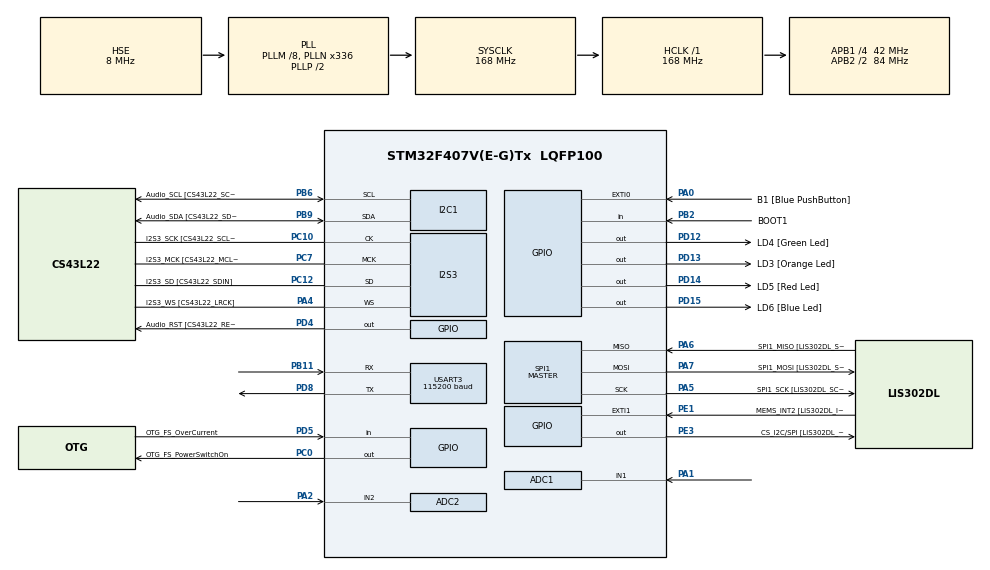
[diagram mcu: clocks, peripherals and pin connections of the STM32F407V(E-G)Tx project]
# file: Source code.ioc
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ADC1.Channel-0\#ChannelRegularConversion=ADC_CHANNEL_1
ADC1.ClockPrescaler=ADC_CLOCK_SYNC_PCLK_DIV4
ADC1.ContinuousConvMode=ENABLE
ADC1.ExternalTrigConv=ADC_EXTERNALTRIGCONV_T3_TRGO
ADC1.Mode=__NULL
ADC1.NbrOfConversionFlag=1
ADC1.Rank-0\#ChannelRegularConversion=1
ADC1.SamplingTime-0\#ChannelRegularConversion=ADC_SAMPLETIME_3CYCLES
ADC1.master=1
ADC2.Channel-3\#ChannelRegularConversion=ADC_CHANNEL_2
ADC2.ContinuousConvMode=ENABLE
ADC2.ExternalTrigConv=ADC_EXTERNALTRIGCONV_T3_TRGO
ADC2.NbrOfConversionFlag=1
ADC2.Rank-3\#ChannelRegularConversion=1
ADC2.SamplingTime-3\#ChannelRegularConversion=ADC_SAMPLETIME_3CYCLES
I2S3.AudioFreq-Half_Duplex_Master=I2S_AUDIOFREQ_96K
I2S3.ErrorAudioFreq=-2.34 %
I2S3.ErrorAudioFreq-Half_Duplex_Master=0.8 %
I2S3.FullDuplexMode=I2S_FULLDUPLEXMODE_DISABLE
I2S3.Instance=SPI$Index
I2S3.RealAudioFreq=93.75 KHz
I2S3.RealAudioFreq-Half_Duplex_Master=96.774 KHz
I2S3.VirtualMode=I2S_MODE_MASTER
Mcu.Family=STM32F4
Mcu.Name=STM32F407V(E-G)Tx
Mcu.Package=LQFP100
NVIC.ADC_IRQn=true\:0\:0\:false\:false\:true\:true
NVIC.PriorityGroup=NVIC_PRIORITYGROUP_0
NVIC.TIM3_IRQn=true\:0\:0\:false\:false\:true\:true
PA0-WKUP.GPIO_Label=B1 [Blue PushButton]
PA0-WKUP.GPIO_ModeDefaultEXTI=GPIO_MODE_EVT_RISING
PA0-WKUP.GPIO_PuPd=GPIO_NOPULL
PA0-WKUP.Signal=GPXTI0
PA1.Signal=ADCx_IN1
PA10.GPIO_Label=OTG_FS_ID
PA10.GPIO_Mode=GPIO_MODE_AF_PP
PA10.GPIO_PuPd=GPIO_NOPULL
PA10.GPIO_Speed=GPIO_SPEED_FREQ_LOW
PA10.Signal=USB_OTG_FS_ID
PA11.GPIO_Label=OTG_FS_DM
PA11.GPIO_Mode=GPIO_MODE_AF_PP
PA11.GPIO_PuPd=GPIO_NOPULL
PA11.GPIO_Speed=GPIO_SPEED_FREQ_LOW
PA11.Signal=USB_OTG_FS_DM
PA12.GPIO_Label=OTG_FS_DP
PA12.GPIO_Mode=GPIO_MODE_AF_PP
PA12.GPIO_PuPd=GPIO_NOPULL
PA12.GPIO_Speed=GPIO_SPEED_FREQ_LOW
PA12.Signal=USB_OTG_FS_DP
PA13.GPIO_Label=SWDIO
PA13.Mode=Serial_Wire
PA13.Signal=SYS_JTMS-SWDIO
PA14.GPIO_Label=SWCLK
PA14.Mode=Serial_Wire
PA14.Signal=SYS_JTCK-SWCLK
PA2.Signal=ADCx_IN2
PA4.GPIO_Label=I2S3_WS [CS43L22_LRCK]
PA4.GPIO_Mode=GPIO_MODE_AF_PP
PA4.GPIO_PuPd=GPIO_NOPULL
PA4.GPIO_Speed=GPIO_SPEED_FREQ_LOW
PA4.Mode=Half_Duplex_Master
PA4.Signal=I2S3_WS
PA5.GPIO_Label=SPI1_SCK [LIS302DL_SCL/SPC]
PA5.GPIO_Mode=GPIO_MODE_AF_PP
PA5.GPIO_PuPd=GPIO_NOPULL
PA5.GPIO_Speed=GPIO_SPEED_FREQ_LOW
PA5.Mode=Full_Duplex_Master
PA5.Signal=SPI1_SCK
PA6.GPIO_Label=SPI1_MISO [LIS302DL_SDO]
PA6.GPIO_Mode=GPIO_MODE_AF_PP
PA6.GPIO_PuPd=GPIO_NOPULL
PA6.GPIO_Speed=GPIO_SPEED_FREQ_LOW
PA6.Mode=Full_Duplex_Master
PA6.Signal=SPI1_MISO
PA7.GPIO_Label=SPI1_MOSI [LIS302DL_SDA/SDI/SDO]
PA7.GPIO_Mode=GPIO_MODE_AF_PP
PA7.GPIO_PuPd=GPIO_NOPULL
PA7.GPIO_Speed=GPIO_SPEED_FREQ_LOW
PA7.Mode=Full_Duplex_Master
PA7.Signal=SPI1_MOSI
PA9.GPIO_Label=VBUS_FS
PA9.GPIO_Mode=GPIO_MODE_INPUT
PA9.GPIO_PuPd=GPIO_NOPULL
PA9.Signal=USB_OTG_FS_VBUS
PB10.GPIO_Label=CLK_IN [MP45DT02_CLK]
PB10.GPIO_Mode=GPIO_MODE_AF_PP
PB10.GPIO_PuPd=GPIO_NOPULL
PB10.GPIO_Speed=GPIO_SPEED_FREQ_LOW
PB10.Signal=I2S2_CK
PB11.Mode=Asynchronous
PB11.Signal=USART3_RX
PB2.GPIO_Label=BOOT1
PB2.GPIO_Mode=GPIO_MODE_INPUT
PB2.GPIO_PuPd=GPIO_NOPULL
PB2.Signal=GPIO_Input
PB3.GPIO_Label=SWO
PB3.Signal=SYS_JTDO-SWO
PB6.GPIO_Label=Audio_SCL [CS43L22_SCL]
PB6.GPIO_Mode=GPIO_MODE_AF_OD
PB6.GPIO_PuPd=GPIO_NOPULL
PB6.GPIO_Speed=GPIO_SPEED_FREQ_LOW
PB6.Mode=I2C
PB6.Signal=I2C1_SCL
PB9.GPIO_Label=Audio_SDA [CS43L22_SDA]
PB9.GPIO_Mode=GPIO_MODE_AF_OD
PB9.GPIO_PuPd=GPIO_NOPULL
PB9.GPIO_Speed=GPIO_SPEED_FREQ_LOW
PB9.Mode=I2C
PB9.Signal=I2C1_SDA
PC0.GPIO_Label=OTG_FS_PowerSwitchOn
PC0.GPIO_PuPd=GPIO_NOPULL
PC0.GPIO_Speed=GPIO_SPEED_FREQ_LOW
PC0.PinState=GPIO_PIN_SET
PC0.Signal=GPIO_Output
PC10.GPIO_Label=I2S3_SCK [CS43L22_SCLK]
PC10.GPIO_Mode=GPIO_MODE_AF_PP
PC10.GPIO_PuPd=GPIO_NOPULL
PC10.GPIO_Speed=GPIO_SPEED_FREQ_LOW
PC10.Mode=Half_Duplex_Master
PC10.Signal=I2S3_CK
PC12.GPIO_Label=I2S3_SD [CS43L22_SDIN]
PC12.GPIO_Mode=GPIO_MODE_AF_PP
PC12.GPIO_PuPd=GPIO_NOPULL
PC12.GPIO_Speed=GPIO_SPEED_FREQ_LOW
PC12.Mode=Half_Duplex_Master
PC12.Signal=I2S3_SD
PC14-OSC32_IN.GPIO_Label=PC14-OSC32_IN
PC14-OSC32_IN.Mode=LSE-External-Oscillator
PC14-OSC32_IN.Signal=RCC_OSC32_IN
PC15-OSC32_OUT.GPIO_Label=PC15-OSC32_OUT
PC15-OSC32_OUT.Mode=LSE-External-Oscillator
PC15-OSC32_OUT.Signal=RCC_OSC32_OUT
PC3.GPIO_Label=PDM_OUT [MP45DT02_DOUT]
PC3.GPIO_Mode=GPIO_MODE_AF_PP
PC3.GPIO_PuPd=GPIO_NOPULL
PC3.GPIO_Speed=GPIO_SPEED_FREQ_LOW
PC3.Signal=I2S2_SD
PC7.GPIO_Label=I2S3_MCK [CS43L22_MCLK]
PC7.GPIO_Mode=GPIO_MODE_AF_PP
PC7.GPIO_PuPd=GPIO_NOPULL
PC7.GPIO_Speed=GPIO_SPEED_FREQ_LOW
PC7.Mode=Master_Clock_Activated
PC7.Signal=I2S3_MCK
PD12.GPIO_Label=LD4 [Green Led]
PD12.GPIO_PuPd=GPIO_NOPULL
PD12.GPIO_Speed=GPIO_SPEED_FREQ_LOW
PD12.Signal=GPIO_Output
PD13.GPIO_Label=LD3 [Orange Led]
PD13.GPIO_PuPd=GPIO_NOPULL
PD13.GPIO_Speed=GPIO_SPEED_FREQ_LOW
PD13.Signal=GPIO_Output
PD14.GPIO_Label=LD5 [Red Led]
PD14.GPIO_PuPd=GPIO_NOPULL
PD14.GPIO_Speed=GPIO_SPEED_FREQ_LOW
PD14.Signal=GPIO_Output
PD15.GPIO_Label=LD6 [Blue Led]
PD15.GPIO_PuPd=GPIO_NOPULL
PD15.GPIO_Speed=GPIO_SPEED_FREQ_LOW
PD15.Signal=GPIO_Output
PD4.GPIO_Label=Audio_RST [CS43L22_RESET]
PD4.GPIO_PuPd=GPIO_NOPULL
PD4.GPIO_Speed=GPIO_SPEED_FREQ_LOW
PD4.Signal=GPIO_Output
PD5.GPIO_Label=OTG_FS_OverCurrent
PD5.GPIO_Mode=GPIO_MODE_INPUT
PD5.GPIO_PuPd=GPIO_NOPULL
PD5.Signal=GPIO_Input
PD8.Mode=Asynchronous
PD8.Signal=USART3_TX
PE1.GPIO_Label=MEMS_INT2 [LIS302DL_INT2]
PE1.GPIO_ModeDefaultEXTI=GPIO_MODE_EVT_RISING
PE1.GPIO_PuPd=GPIO_NOPULL
PE1.Signal=GPXTI1
PE3.GPIO_Label=CS_I2C/SPI [LIS302DL_CS_I2C/SPI]
PE3.GPIO_PuPd=GPIO_NOPULL
PE3.GPIO_Speed=GPIO_SPEED_FREQ_LOW
PE3.Signal=GPIO_Output
PH0-OSC_IN.GPIO_Label=PH0-OSC_IN
PH0-OSC_IN.Mode=HSE-External-Oscillator
PH0-OSC_IN.Signal=RCC_OSC_IN
PH1-OSC_OUT.GPIO_Label=PH1-OSC_OUT
PH1-OSC_OUT.Mode=HSE-External-Oscillator
PH1-OSC_OUT.Signal=RCC_OSC_OUT
ProjectManager.HeapSize=0x200
ProjectManager.StackSize=0x400
ProjectManager.TargetToolchain=TrueSTUDIO
RCC.48MHZClocksFreq_Value=48000000
RCC.AHBFreq_Value=168000000
RCC.APB1CLKDivider=RCC_HCLK_DIV4
RCC.APB1Freq_Value=42000000
RCC.APB1TimFreq_Value=84000000
RCC.APB2CLKDivider=RCC_HCLK_DIV2
RCC.APB2Freq_Value=84000000
RCC.APB2TimFreq_Value=168000000
RCC.CortexFreq_Value=168000000
RCC.HCLKFreq_Value=168000000
RCC.HSE_VALUE=8000000
RCC.HSI_VALUE=16000000
RCC.PLLM=8
RCC.PLLN=336
RCC.PLLQ=7
RCC.PLLSourceVirtual=RCC_PLLSOURCE_HSE
RCC.SYSCLKFreq_VALUE=168000000
RCC.SYSCLKSource=RCC_SYSCLKSOURCE_PLLCLK
RCC.VCOOutputFreq_Value=336000000
SH.ADCx_IN1.0=ADC1_IN1,IN1
SH.ADCx_IN2.0=ADC2_IN2,IN2
SPI1.BaudRatePrescaler-Full_Duplex_Master=SPI_BAUDRATEPRESCALER_2
SPI1.CalculateBaudRate-Full_Duplex_Master=42.0 MBits/s
SPI1.Direction=SPI_DIRECTION_2LINES
SPI1.Mode=SPI_MODE_MASTER
SPI1.Mode-Full_Duplex_Master=SPI_MODE_MASTER
SPI1.VirtualType=VM_MASTER
TIM3.ClockDivision=TIM_CLOCKDIVISION_DIV2
TIM3.Period=10
TIM3.Prescaler=84
TIM3.TIM_MasterOutputTrigger=TIM_TRGO_UPDATE
USART3.BaudRate=115200
USART3.VirtualMode=VM_ASYNC
VP_TIM3_VS_ClockSourceINT.Mode=Internal
board=STM32F4DISCOVERY

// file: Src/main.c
/* USER CODE BEGIN Header */
/**
  ******************************************************************************
  * @file           : main.c
  * @brief          : Main program body
  ******************************************************************************
  * This notice applies to any and all portions of this file
  * that are not between comment pairs USER CODE BEGIN and
  * USER CODE END. Other portions of this file, whether
  * inserted by the user or by software development tools
  * are owned by their respective copyright owners.
  *
  * Copyright (c) 2018 STMicroelectronics International N.V.
  * All rights reserved.
  *
  * Redistribution and use in source and binary forms, with or without
  * modification, are permitted, provided that the following conditions are met:
  *
  * 1. Redistribution of source code must retain the above copyright notice,
  *    this list of conditions and the following disclaimer.
  * 2. Redistributions in binary form must reproduce the above copyright notice,
  *    this list of conditions and the following disclaimer in the documentation
  *    and/or other materials provided with the distribution.
  * 3. Neither the name of STMicroelectronics nor the names of other
  *    contributors to this software may be used to endorse or promote products
  *    derived from this software without specific written permission.
  * 4. This software, including modifications and/or derivative works of this
  *    software, must execute solely and exclusively on microcontroller or
  *    microprocessor devices manufactured by or for STMicroelectronics.
  * 5. Redistribution and use of this software other than as permitted under
  *    this license is void and will automatically terminate your rights under
  *    this license.
  *
  * THIS SOFTWARE IS PROVIDED BY STMICROELECTRONICS AND CONTRIBUTORS "AS IS"
  * AND ANY EXPRESS, IMPLIED OR STATUTORY WARRANTIES, INCLUDING, BUT NOT
  * LIMITED TO, THE IMPLIED WARRANTIES OF MERCHANTABILITY, FITNESS FOR A
  * PARTICULAR PURPOSE AND NON-INFRINGEMENT OF THIRD PARTY INTELLECTUAL PROPERTY
  * RIGHTS ARE DISCLAIMED TO THE FULLEST EXTENT PERMITTED BY LAW. IN NO EVENT
  * SHALL STMICROELECTRONICS OR CONTRIBUTORS BE LIABLE FOR ANY DIRECT, INDIRECT,
  * INCIDENTAL, SPECIAL, EXEMPLARY, OR CONSEQUENTIAL DAMAGES (INCLUDING, BUT NOT
  * LIMITED TO, PROCUREMENT OF SUBSTITUTE GOODS OR SERVICES; LOSS OF USE, DATA,
  * OR PROFITS; OR BUSINESS INTERRUPTION) HOWEVER CAUSED AND ON ANY THEORY OF
  * LIABILITY, WHETHER IN CONTRACT, STRICT LIABILITY, OR TORT (INCLUDING
  * NEGLIGENCE OR OTHERWISE) ARISING IN ANY WAY OUT OF THE USE OF THIS SOFTWARE,
  * EVEN IF ADVISED OF THE POSSIBILITY OF SUCH DAMAGE.
  *
  ******************************************************************************
  */
/* USER CODE END Header */

#include "main.h"
#include "adc.h"
#include "i2c.h"
#include "i2s.h"
#include "spi.h"
#include "tim.h"
#include "usart.h"
#include "gpio.h"

/* USER CODE BEGIN Includes */
#include "string.h"
#include  <errno.h>
#include  <sys/unistd.h> // STDOUT_FILENO, STDERR_FILENO
#include <stdint.h>
#include <stdbool.h>

#include "dsp_algorithms.h"
#include "adc_capture.h"

//DEBUG
#include "stm32f4xx_hal_tim.h"

/* USER CODE END Includes */

/* USER CODE BEGIN PV */
const char trigger_type_names[][20] = {
		"trigger_off",
		"trigger_rising",
		"trigger_falling",
		"trigger_any"
};

/* USER CODE END PV */

void SystemClock_Config(void);

/* USER CODE BEGIN 0 */

/// \brief write for printf
/// Source: https://electronics.stackexchange.com/questions/206113/how-do-i-use-the-printf-function-on-stm32
/// Uses UART3 to transmit data
int _write(int file, char *data, int len)
{
	if ((file != STDOUT_FILENO) && (file != STDERR_FILENO))
	{
			errno = EBADF;
			return -1;
	}

	// arbitrary timeout 1000
	HAL_StatusTypeDef status = HAL_UART_Transmit(&huart3, (uint8_t*)data, len, 1000);

	// return # of bytes written - as best we can tell
	return (status == HAL_OK ? len : 0);
}

/// \brief clears the terminal by writing a lot of empty lines to it
/// \author R. Paauw
void clear_terminal()
{
	for (int i = 0; i < 80; i++)
	{
		printf("\r\n");
	}
}

/// \brief prints the menu options that are available on the system
/// \author R. Paauw
void print_menu_options()
{
	printf("(1) Capture microphones\r\n");
	printf("(2) Calculate time delay\r\n");
	printf("(3) Signal statistics\r\n");
	printf("(4) Print ADC buffers\r\n");
	printf("(R) Toggle continuous running mode\r\n");
	printf("(T) Select trigger mode\r\n");
	printf("(-) Decrease trigger level\r\n");
	printf("(+) Increase trigger level\r\n");
	printf("(C) Clear screen\r\n");
	printf("(H) Print menu options\r\n");
}

/// \brief Prints text at startup
/// \author R. Paauw
void print_startup_text()
{
	char startup_string[] = "| 5LIU0 project - TDOA angle estimation |";
	char lines[sizeof(startup_string)];
	for (int i = 1; i < (sizeof(lines) - 2); i++)
	{
		lines[i] = '=';
	}
	lines[0] = '+';
	lines[sizeof(lines) - 1] = '+';

	clear_terminal();
	printf("%s\r\n", lines);
	printf("%s\r\n", startup_string);
	printf("%s\r\n\r\n", lines);

	print_menu_options();

	printf("\r\n> ");
}

/// \brief prints the values of the ADC in decimal csv format with ';' as seperator
/// \param[in] buf_a pointer to first buffer
/// \param[in] buf_b pointer to second buffer
/// \param[in] nr_of_samples number of samples to print
void print_adc_buffers(int16_t *buf_a, int16_t *buf_b, uint32_t nr_of_samples)
{
	printf("\r\nIndex,Buffer A,Buffer B\r\n");

	for (int i = 0; i < nr_of_samples; i++)
	{
		printf("%d,%d,%d\r\n", i, (int)buf_a[i], (int)buf_b[i]);
	}
}

/// \brief Process one character from the terminal
/// \param[in] rx_char The character received from the terminal
/// \author R. Paauw
void process_uart_command(uint8_t rx_char)
{
	int16_t trigger_level_mv;
	uint8_t rx_char_2 = 'a';

	switch(rx_char)
	{
	case '1':
		printf("%c\r\n", rx_char);
		printf("Capturing microphones...\r\n");

		HAL_Delay(500); // Wait for the sound of the keypress to fade

		for (int i = 0; i < adc_buffer_size; i++)
		{
			adc_buffer_a[i] = 6;
			adc_buffer_b[i] = 7;
		}

		if (get_trigger_mode() != trigger_off)
		{
			set_adc_mode(ADC_TRIGGER_MODE);
		} else {
			set_adc_mode(ADC_CAPTURE_MODE);
		}

		uint32_t starttime = HAL_GetTick();

		reset_adc_index();

		HAL_ADC_Start_IT(&hadc1);
		HAL_ADC_Start_IT(&hadc2);
		HAL_TIM_Base_Start_IT(&htim3);

		while(get_adc_index() != adc_buffer_size)
		{
			HAL_UART_Receive(&huart3, &rx_char_2, 1, 1);
			if ((rx_char_2 == 'q') || (rx_char_2 == 'Q'))
			{
				break;
			}
		}

		uint32_t time_elapsed = HAL_GetTick() - starttime;

		HAL_TIM_Base_Stop_IT(&htim3);
		HAL_ADC_Stop_IT(&hadc1);
		HAL_ADC_Stop_IT(&hadc2);

		if (get_adc_index() == adc_buffer_size)
		{
			printf("Capture complete in %lums\r\n", time_elapsed);
		} else {
			printf("Capture aborted.\r\n");
		}

		printf("\r\n> ");
		break;
	case '2':
		printf("%c\r\n", rx_char);
		printf("Calculating time delay...\r\n");
		printf("FAIL: Not implemented\r\n");
		// ToDo Calculate time delay here

		printf("\r\n> ");
		break;
	case '3':
		printf("%c\r\n", rx_char);
		printf("Entering statistics mode...\r\n");
		printf("\r\nPress <Q> to exit\r\n");

		HAL_Delay(500); // Wait for the sound of the keypress to fade

		do {

			if (get_trigger_mode() != trigger_off)
			{
				set_adc_mode(ADC_TRIGGER_MODE);
			} else {
				set_adc_mode(ADC_CAPTURE_MODE);
			}

			uint32_t starttime = HAL_GetTick();

			reset_adc_index();

			HAL_ADC_Start_IT(&hadc1);
			HAL_ADC_Start_IT(&hadc2);
			HAL_TIM_Base_Start_IT(&htim3);

			while(get_adc_index() != adc_buffer_size);
			uint32_t time_elapsed = HAL_GetTick() - starttime;

			HAL_TIM_Base_Stop_IT(&htim3);
			HAL_ADC_Stop_IT(&hadc1);
			HAL_ADC_Stop_IT(&hadc2);

			printf("Capture complete in %lums\r\n", time_elapsed);

			// Analyze signal here

			int16_t SignalMin_A = 30000;
			int16_t SignalMax_A = -30000;
			int64_t SamlpleSummation_A = 0;

			int16_t SignalMin_B = 30000;
			int16_t SignalMax_B = -30000;
			int64_t SamlpleSummation_B = 0;

			for (int i = 0; i < adc_buffer_size; i++)
			{
				if (adc_buffer_a[i] > SignalMax_B)
				{
					SignalMax_A = adc_buffer_a[i];
				}

				if (adc_buffer_b[i] > SignalMax_B)
				{
					SignalMax_B = adc_buffer_b[i];
				}

				if (adc_buffer_a[i] < SignalMin_A)
				{
					SignalMin_A = adc_buffer_a[i];
				}

				if (adc_buffer_b[i] < SignalMin_B)
				{
					SignalMin_B = adc_buffer_b[i];
				}

				SamlpleSummation_A += adc_buffer_a[i];
				SamlpleSummation_B += adc_buffer_b[i];
			}

			float Average_A = SamlpleSummation_A / (adc_buffer_size * 1.f);
			float Average_B = SamlpleSummation_B / (adc_buffer_size * 1.f);

			printf("+==========+==========+==========+\r\n");
			printf("| Property | Signal A | Signal B |\r\n");
			printf("+==========+==========+==========+\r\n");
			printf("|Min value | %8d | %8d |\r\n", SignalMin_A, SignalMin_B);
			printf("|Max value | %8d | %8d |\r\n", SignalMax_A, SignalMax_B);
			printf("|Average   | %5.3f | %.3f |\r\n", Average_A, Average_B);
			printf("|Peak-peak | %8d | %8d |\r\n", SignalMax_A - SignalMin_A, SignalMax_B - SignalMin_B);

			printf("+==========+==========+==========+\r\n");

			printf("\r\n\r\n");
			HAL_Delay(3000);

			HAL_UART_Receive(&huart3, &rx_char_2, 1, 1);
		} while ((rx_char_2 != 'Q') && (rx_char_2 != 'q'));

		printf("\r\n> ");
		break;
	case '4':
		printf("%c\r\n", rx_char);
		printf("Displaying ADC buffers...\r\n");

		if (get_adc_index() == adc_buffer_size)
		{
			print_adc_buffers(adc_buffer_a, adc_buffer_b, adc_buffer_size);
		} else {
			printf("FAIL: ADC buffers not ready, index = %lu\r\n", get_adc_index());
		}

		printf("\r\n> ");
		break;
	case 'R':
	case 'r':
		printf("%c\r\n", rx_char);
		printf("Entering continuous running mode...\r\n");
		printf("FAIL: Not implemented\r\n");
		// ToDo Implement continuous running mode here

		printf("\r\n> ");
		break;
	case 'T':
	case 't':
		printf("%c\r\n", rx_char);
		trigger_type_t trigger_mode = get_trigger_mode() + 1;
		if (trigger_mode >= nr_of_trigger_values)
			trigger_mode = trigger_off;
		set_trigger_mode(trigger_mode);
		printf("Trigger type set to: [%s]\r\n", trigger_type_names[(int)trigger_mode]);
		printf("\r\n> ");
		break;
	case '-':
		printf("%c\r\n", rx_char);
		trigger_level_mv = get_trigger_level();
		if ((trigger_level_mv - trigger_stepsize) >= trigger_min)
			set_trigger_level(trigger_level_mv - trigger_stepsize);
		printf("Decreased trigger level to %dmV\r\n", trigger_level_mv);
		printf("\r\n> ");
		break;
	case '+':
		printf("%c\r\n", rx_char);
		trigger_level_mv = get_trigger_level();
		if ((trigger_level_mv + trigger_stepsize) <= (trigger_max))
			set_trigger_level(trigger_level_mv + trigger_stepsize);
		printf("Increased trigger level to %dmV\r\n", trigger_level_mv);
		printf("\r\n> ");
		break;
	case 'C':
	case 'c':
		clear_terminal();
		printf("> ");
		break;
	case 'H':
	case 'h':
		printf("%c\r\n\r\n", rx_char);
		print_menu_options();
		printf("\r\n> ");
		break;
	default:
		if ((rx_char >= ' ') && (rx_char <= '~'))
			printf("Unknown command <%c> use (H) to show supported commands\r\n\r\n> ", rx_char);
		break;
	 }
}

/* USER CODE END 0 */

int main(void)
{

  /* MCU Configuration--------------------------------------------------------*/

  /* Reset of all peripherals, Initializes the Flash interface and the Systick. */
  HAL_Init();

  /* Configure the system clock */
  SystemClock_Config();

  /* Initialize all configured peripherals */
  MX_GPIO_Init();
  MX_I2C1_Init();
  MX_I2S3_Init();
  MX_SPI1_Init();
  MX_ADC1_Init();
  MX_ADC2_Init();
  MX_USART3_UART_Init();
  MX_TIM3_Init();
  /* USER CODE BEGIN 2 */

  setvbuf(stdout, NULL, _IONBF, 0); // Set stdout (and thus printf) to be unbuffered.

  print_startup_text();

  /* USER CODE END 2 */

  /* Infinite loop */
  /* USER CODE BEGIN WHILE */
  while (1)
  {
	uint8_t rx_char;

	HAL_StatusTypeDef status = HAL_UART_Receive(&huart3, &rx_char, 1, 1);

	if (status == HAL_OK)
	{
		process_uart_command(rx_char);
	}

    /* USER CODE END WHILE */

  }
}

void SystemClock_Config(void)
{
  RCC_OscInitTypeDef RCC_OscInitStruct = {0};
  RCC_ClkInitTypeDef RCC_ClkInitStruct = {0};
  RCC_PeriphCLKInitTypeDef PeriphClkInitStruct = {0};

  /**Configure the main internal regulator output voltage
  */
  __HAL_RCC_PWR_CLK_ENABLE();
  __HAL_PWR_VOLTAGESCALING_CONFIG(PWR_REGULATOR_VOLTAGE_SCALE1);
  /**Initializes the CPU, AHB and APB busses clocks
  */
  RCC_OscInitStruct.OscillatorType = RCC_OSCILLATORTYPE_HSE;
  RCC_OscInitStruct.HSEState = RCC_HSE_ON;
  RCC_OscInitStruct.PLL.PLLState = RCC_PLL_ON;
  RCC_OscInitStruct.PLL.PLLSource = RCC_PLLSOURCE_HSE;
  RCC_OscInitStruct.PLL.PLLM = 8;
  RCC_OscInitStruct.PLL.PLLN = 336;
  RCC_OscInitStruct.PLL.PLLP = RCC_PLLP_DIV2;
  RCC_OscInitStruct.PLL.PLLQ = 7;
  if (HAL_RCC_OscConfig(&RCC_OscInitStruct) != HAL_OK)
  {
    Error_Handler();
  }
  /**Initializes the CPU, AHB and APB busses clocks
  */
  RCC_ClkInitStruct.ClockType = RCC_CLOCKTYPE_HCLK|RCC_CLOCKTYPE_SYSCLK
                              |RCC_CLOCKTYPE_PCLK1|RCC_CLOCKTYPE_PCLK2;
  RCC_ClkInitStruct.SYSCLKSource = RCC_SYSCLKSOURCE_PLLCLK;
  RCC_ClkInitStruct.AHBCLKDivider = RCC_SYSCLK_DIV1;
  RCC_ClkInitStruct.APB1CLKDivider = RCC_HCLK_DIV4;
  RCC_ClkInitStruct.APB2CLKDivider = RCC_HCLK_DIV2;

  if (HAL_RCC_ClockConfig(&RCC_ClkInitStruct, FLASH_LATENCY_5) != HAL_OK)
  {
    Error_Handler();
  }
  PeriphClkInitStruct.PeriphClockSelection = RCC_PERIPHCLK_I2S;
  PeriphClkInitStruct.PLLI2S.PLLI2SN = 192;
  PeriphClkInitStruct.PLLI2S.PLLI2SR = 2;
  if (HAL_RCCEx_PeriphCLKConfig(&PeriphClkInitStruct) != HAL_OK)
  {
    Error_Handler();
  }
}

void Error_Handler(void)
{
}

/************************ (C) COPYRIGHT STMicroelectronics *****END OF FILE****/
